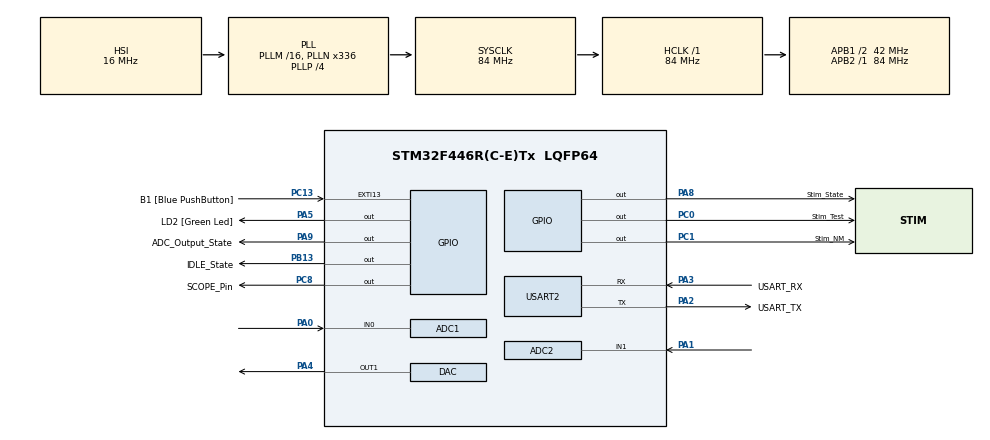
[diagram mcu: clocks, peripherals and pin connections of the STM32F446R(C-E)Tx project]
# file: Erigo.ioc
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ADC1.Channel-0\#ChannelRegularConversion=ADC_CHANNEL_0
ADC1.ExternalTrigConv=ADC_EXTERNALTRIGCONV_T2_TRGO
ADC1.Mode=ADC_DUALMODE_REGSIMULT
ADC1.NbrOfConversionFlag=1
ADC1.Rank-0\#ChannelRegularConversion=1
ADC1.SamplingTime-0\#ChannelRegularConversion=ADC_SAMPLETIME_84CYCLES
ADC1.master=1
ADC2.Channel-3\#ChannelRegularConversion=ADC_CHANNEL_1
ADC2.Mode=ADC_DUALMODE_REGSIMULT
ADC2.NbrOfConversionFlag=1
ADC2.Rank-3\#ChannelRegularConversion=1
ADC2.SamplingTime-3\#ChannelRegularConversion=ADC_SAMPLETIME_84CYCLES
Mcu.Family=STM32F4
Mcu.Name=STM32F446R(C-E)Tx
Mcu.Package=LQFP64
NVIC.ADC_IRQn=true\:0\:0\:false\:false\:true\:true
NVIC.PriorityGroup=NVIC_PRIORITYGROUP_0
NVIC.TIM3_IRQn=true\:0\:0\:false\:false\:true\:true
NVIC.TIM4_IRQn=true\:0\:0\:false\:false\:true\:true
NVIC.USART2_IRQn=true\:0\:0\:false\:false\:true\:true
PA0-WKUP.Signal=ADCx_IN0
PA1.Signal=ADCx_IN1
PA13.GPIO_Label=TMS
PA13.Mode=Serial_Wire
PA13.Signal=SYS_JTMS-SWDIO
PA14.GPIO_Label=TCK
PA14.Mode=Serial_Wire
PA14.Signal=SYS_JTCK-SWCLK
PA2.GPIO_Label=USART_TX
PA2.Mode=Asynchronous
PA2.Signal=USART2_TX
PA3.GPIO_Label=USART_RX
PA3.Mode=Asynchronous
PA3.Signal=USART2_RX
PA4.Signal=SharedAnalog_PA4
PA5.GPIO_Label=LD2 [Green Led]
PA5.PinState=GPIO_PIN_SET
PA5.Signal=GPIO_Output
PA8.GPIO_Label=Stim_State
PA8.Signal=GPIO_Output
PA9.GPIO_Label=ADC_Output_State
PA9.Signal=GPIO_Output
PB13.GPIO_Label=IDLE_State
PB13.Signal=GPIO_Output
PB3.GPIO_Label=SWO
PB3.Signal=SYS_JTDO-SWO
PC0.GPIO_Label=Stim_Test
PC0.Signal=GPIO_Output
PC1.GPIO_Label=Stim_NM
PC1.Signal=GPIO_Output
PC13.GPIO_Label=B1 [Blue PushButton]
PC13.GPIO_ModeDefaultEXTI=GPIO_MODE_IT_FALLING
PC13.GPIO_PuPd=GPIO_NOPULL
PC13.Signal=GPXTI13
PC14-OSC32_IN.Mode=LSE-External-Oscillator
PC14-OSC32_IN.Signal=RCC_OSC32_IN
PC15-OSC32_OUT.Mode=LSE-External-Oscillator
PC15-OSC32_OUT.Signal=RCC_OSC32_OUT
PC8.GPIO_Label=SCOPE_Pin
PC8.GPIO_Speed=GPIO_SPEED_FREQ_MEDIUM
PC8.Signal=GPIO_Output
PH0-OSC_IN.Mode=HSE-External-Oscillator
PH0-OSC_IN.Signal=RCC_OSC_IN
PH1-OSC_OUT.Mode=HSE-External-Oscillator
PH1-OSC_OUT.Signal=RCC_OSC_OUT
ProjectManager.HeapSize=0x200
ProjectManager.StackSize=0x400
ProjectManager.TargetToolchain=SW4STM32
RCC.48MHZClocksFreq_Value=84000000
RCC.AHBFreq_Value=84000000
RCC.APB1CLKDivider=RCC_HCLK_DIV2
RCC.APB1Freq_Value=42000000
RCC.APB1TimFreq_Value=84000000
RCC.APB2Freq_Value=84000000
RCC.APB2TimFreq_Value=84000000
RCC.CortexFreq_Value=84000000
RCC.FLatency-AdvancedSettings=FLASH_LATENCY_2
RCC.HCLKFreq_Value=84000000
RCC.HSE_VALUE=8000000
RCC.HSI_VALUE=16000000
RCC.PLLN=336
RCC.PLLP=RCC_PLLP_DIV4
RCC.SYSCLKFreq_VALUE=84000000
RCC.SYSCLKSource=RCC_SYSCLKSOURCE_PLLCLK
RCC.USBFreq_Value=168000000
RCC.VCOOutputFreq_Value=336000000
SH.ADCx_IN0.0=ADC1_IN0,IN0
SH.ADCx_IN1.0=ADC2_IN1,IN1
SH.SharedAnalog_PA4.0=ADC2_IN4
SH.SharedAnalog_PA4.1=DAC_OUT1,DAC_OUT1
TIM2.Period=832
TIM2.Prescaler=100
TIM2.TIM_MasterOutputTrigger=TIM_TRGO_UPDATE
TIM2.TIM_MasterSlaveMode=TIM_MASTERSLAVEMODE_DISABLE
TIM3.Period=2090
TIM3.Prescaler=200
TIM4.Period=9
TIM4.Prescaler=41999
USART2.VirtualMode=VM_ASYNC
VP_TIM2_VS_ClockSourceINT.Mode=Internal
VP_TIM3_VS_ClockSourceINT.Mode=Internal
VP_TIM4_VS_ClockSourceINT.Mode=Internal
board=NUCLEO-F446RE

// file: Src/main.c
/* USER CODE BEGIN Header */
/**
  ******************************************************************************
  * @file           : main.c
  * @brief          : Main program body
  ******************************************************************************
  ** This notice applies to any and all portions of this file
  * that are not between comment pairs USER CODE BEGIN and
  * USER CODE END. Other portions of this file, whether
  * inserted by the user or by software development tools
  * are owned by their respective copyright owners.
  *
  * COPYRIGHT(c) 2019 STMicroelectronics
  *
  * Redistribution and use in source and binary forms, with or without modification,
  * are permitted provided that the following conditions are met:
  *   1. Redistributions of source code must retain the above copyright notice,
  *      this list of conditions and the following disclaimer.
  *   2. Redistributions in binary form must reproduce the above copyright notice,
  *      this list of conditions and the following disclaimer in the documentation
  *      and/or other materials provided with the distribution.
  *   3. Neither the name of STMicroelectronics nor the names of its contributors
  *      may be used to endorse or promote products derived from this software
  *      without specific prior written permission.
  *
  * THIS SOFTWARE IS PROVIDED BY THE COPYRIGHT HOLDERS AND CONTRIBUTORS "AS IS"
  * AND ANY EXPRESS OR IMPLIED WARRANTIES, INCLUDING, BUT NOT LIMITED TO, THE
  * IMPLIED WARRANTIES OF MERCHANTABILITY AND FITNESS FOR A PARTICULAR PURPOSE ARE
  * DISCLAIMED. IN NO EVENT SHALL THE COPYRIGHT HOLDER OR CONTRIBUTORS BE LIABLE
  * FOR ANY DIRECT, INDIRECT, INCIDENTAL, SPECIAL, EXEMPLARY, OR CONSEQUENTIAL
  * DAMAGES (INCLUDING, BUT NOT LIMITED TO, PROCUREMENT OF SUBSTITUTE GOODS OR
  * SERVICES; LOSS OF USE, DATA, OR PROFITS; OR BUSINESS INTERRUPTION) HOWEVER
  * CAUSED AND ON ANY THEORY OF LIABILITY, WHETHER IN CONTRACT, STRICT LIABILITY,
  * OR TORT (INCLUDING NEGLIGENCE OR OTHERWISE) ARISING IN ANY WAY OUT OF THE USE
  * OF THIS SOFTWARE, EVEN IF ADVISED OF THE POSSIBILITY OF SUCH DAMAGE.
  *
  ******************************************************************************
  */
/* USER CODE END Header */

#include "main.h"

/* USER CODE BEGIN Includes */
#include "stdbool.h"
#include "string.h"

#include "circular_buff.h"
#include "signal_proc_util.h"
#include "comm_protocol.h"
#include "min.h"
#include "min_user.h"
#include "cmd_msg_struct.h"
#include "stim_control.h"
#include "global_state.h"

/* USER CODE END Includes */

/* USER CODE BEGIN PD */
#define STIM_TRIGGER_THRESHOLD 2000
#define STIM_TRIGGER_TOLERANCE 50
#define STIM_TRIGGER_CYCLE_LIMIT 5 //Number of times the threshold must be reached before Test Pulse is produced.

#define MINIMUM_ZERO_CROSSING_TIME_MS 200 //Minimum amount of time before another zero crossing is allowed to be detected

#define ADC_BUFFER_SIZE 5
#define ADC_DATA_AMOUNT 5000 //# of samples to collect

#define TEST_AMP_MA_MIN 0
#define TEST_AMP_MA_MAX 500
#define   NM_AMP_MA_MIN 0
#define   NM_AMP_MA_MAX 300
#define    FREQ_SEL_MIN 0
#define    FREQ_SEL_MAX 3

#define MAX_NM_TIME_MS 60000
#define DIAGNOSTIC_PULSE_TIME 500
/* USER CODE END PD */

ADC_HandleTypeDef hadc1;
ADC_HandleTypeDef hadc2;

DAC_HandleTypeDef hdac;

TIM_HandleTypeDef htim2;
TIM_HandleTypeDef htim3;
TIM_HandleTypeDef htim4;

UART_HandleTypeDef huart2;

void SystemClock_Config(void);
static void MX_GPIO_Init(void);
static void MX_USART2_UART_Init(void);
static void MX_ADC1_Init(void);
static void MX_TIM3_Init(void);
static void MX_DAC_Init(void);
static void MX_TIM2_Init(void);
static void MX_ADC2_Init(void);
static void MX_TIM4_Init(void);

/* USER CODE BEGIN 0 */
bool STIM_MODE = false;

uint32_t num_of_threshold_crossings = 0;

uint32_t gADC_reading = 0;
uint32_t gADC_reading_Two = 0;

//Two buffers are used since it is easier to use separate buffer buffer arrays/circ buffers
//since they are different sizes.
//Buffer for ADC samples while stimulating. This is used as the underlying array for the associated circ buff
uint32_t stim_adc_buffer_array[ADC_BUFFER_SIZE] = {0};

//Buffer for ADC samples while only measuring. This is used as the underlying array for the associated circ buff
uint32_t meas_adc_buffer_array[ADC_DATA_AMOUNT] = {0};

//Buffer to hold recorded stimulation times
uint32_t stim_meas_times[10] = {};
circ_buff_handle stim_meas_time_circ_buff;
uint32_t avg_delta_t = 0;
uint32_t prev_time = 0;
bool first_time = true;
bool send_predictive_test_pulse = false;

//Declare circular buffer for ADC values while stimulating
circ_buff_handle stim_adc_circ_buff;

//Declare circular buffer for ADC values while only measuring
circ_buff_handle meas_adc_circ_buff;

bool POS_BELOW_THRESHOLD = false;

bool has_threshold_been_crossed(){
	//STIM_TRIGGER_THRESHOLD +/- STIM_TRIGGER_TOLERANCE implements hysteresis
	//return (POS_BELOW_THRESHOLD&&all_above_threshold(stim_adc_buffer_array, ADC_BUFFER_SIZE, STIM_TRIGGER_THRESHOLD + STIM_TRIGGER_TOLERANCE)) || (!POS_BELOW_THRESHOLD&&all_below_threshold(stim_adc_buffer_array, ADC_BUFFER_SIZE, STIM_TRIGGER_THRESHOLD - STIM_TRIGGER_TOLERANCE));
	return (POS_BELOW_THRESHOLD&&(circ_buff_get_sum(stim_adc_circ_buff) > circ_buff_max_capacity(stim_adc_circ_buff)*STIM_TRIGGER_THRESHOLD)) ||  //Effectively checks the average of the samples
		  (!POS_BELOW_THRESHOLD&&(circ_buff_get_sum(stim_adc_circ_buff) < circ_buff_max_capacity(stim_adc_circ_buff)*STIM_TRIGGER_THRESHOLD));

}

WAV_CMD_DATA* CMD_DATA_Handle;

//Checks to make sure it is within the range (low, high) inclusive
bool in_range(uint16_t x, uint16_t low, uint16_t high){
    return ((x>=low)&&(x<=high));
}

//Before the STIM_CONTROL state is entered, the values in the cmd msg are checked to make sure they
//are not out of range
bool check_stim_params(WAV_CMD_DATA* CMD_DATA_Handle){

	bool vals_in_bounds = false;
	//Check test_amp_ma
    if(in_range(CMD_DATA_Handle->TestAmp_mA, TEST_AMP_MA_MIN, TEST_AMP_MA_MAX) &&
       in_range(CMD_DATA_Handle->CondAmp_mA, NM_AMP_MA_MIN,NM_AMP_MA_MAX)   &&
	   in_range(CMD_DATA_Handle->CondFreq_Hz, FREQ_SEL_MIN, FREQ_SEL_MAX)){
        return true;
    }

    return vals_in_bounds;
}

/* USER CODE END 0 */

int main(void)
{

  /* MCU Configuration--------------------------------------------------------*/

  /* Reset of all peripherals, Initializes the Flash interface and the Systick. */
  HAL_Init();

  /* Configure the system clock */
  SystemClock_Config();

  /* Initialize all configured peripherals */
  MX_GPIO_Init();
  MX_USART2_UART_Init();
  MX_ADC1_Init();
  MX_TIM3_Init();
  MX_DAC_Init();
  MX_TIM2_Init();
  MX_ADC2_Init();
  MX_TIM4_Init();
  /* USER CODE BEGIN 2 */

  setGlobalState_IDLE_STATE();

  CMD_DATA_Handle = comm_init();  //Init comms and return a msg handler

  //Define the circular buffer used during stim control mode
  stim_adc_circ_buff = circ_buff_init(stim_adc_buffer_array, ADC_BUFFER_SIZE);
  while(!stim_adc_circ_buff){}; //Infinite loop in case it returns NULL

  //Define the circular buffer used during ADC output mode
  meas_adc_circ_buff = circ_buff_init(meas_adc_buffer_array, ADC_DATA_AMOUNT);
  while(!meas_adc_circ_buff){}; //Infinite loop in case it returns NULL

  stim_meas_time_circ_buff = circ_buff_init(stim_meas_times, 10);
  while(!stim_meas_time_circ_buff){};

  /* USER CODE END 2 */

  /* Infinite loop */
  /* USER CODE BEGIN WHILE */
  while (1)
  {

	    comm_get_control_params_blocking();

	    if (CMD_DATA_Handle->cmd_id == WAV_GEN_MSG_IDENTIFIER && check_stim_params(CMD_DATA_Handle)) {

	    	//This state is not entered until bounds checking is done.
	    	//This is so that the stim output will not change,
	    	//since it makes sure it is in the STIM_CONTROL state first.
	    	setGlobalState_STIM_CONTROL();

			//Start stimulation
			stim_control_setup(CMD_DATA_Handle);
			stim_control_start();

			//Start collecting ADC position samples
			HAL_TIM_Base_Start_IT(&htim2);
			HAL_ADC_Start_IT(&hadc1);
			HAL_ADC_Start_IT(&hadc2);

			//Loops while Reset Msg isn't received AND TIMEOUT hasn't expired
			uint32_t expiration_time = HAL_GetTick() + MAX_NM_TIME_MS;
			while(CMD_DATA_Handle->cmd_id != STOP_PROC_ID && ((int32_t)(expiration_time - HAL_GetTick()) > 0)){};

			num_of_threshold_crossings = 0; //Reset this to zero once stimulation has ended
			stim_control_reset();
			circ_buff_reset(stim_adc_circ_buff);

			//Reset to Idle State only once stim control has been reset
		    setGlobalState_IDLE_STATE();

	    }else if (CMD_DATA_Handle->cmd_id == DATA_LOG_MSG_IDENTIFIER){

	    	setGlobalState_ADC_OUTPUT();

	  	    //----Collect ADC Data----//

	        //Turn on HW Timer/ADC to collect samples
	  	    HAL_TIM_Base_Start_IT(&htim2);
	  	    HAL_ADC_Start_IT(&hadc1);
	  	    HAL_ADC_Start_IT(&hadc2);

	  	    while(!circ_buff_is_full(meas_adc_circ_buff));

	  	    HAL_TIM_Base_Stop_IT(&htim2);
	  	    HAL_ADC_Stop_IT(&hadc1);
	  	    HAL_ADC_Stop_IT(&hadc2);

	  	    //----Send Data to Host----//
	  	    comm_send_data(meas_adc_buffer_array, ADC_DATA_AMOUNT);

	  	    circ_buff_reset(meas_adc_circ_buff);

	  	    //Reset to Idle State
	  	    setGlobalState_IDLE_STATE();
	     }

    /* USER CODE END WHILE */

  }
}

void SystemClock_Config(void)
{
  RCC_OscInitTypeDef RCC_OscInitStruct = {0};
  RCC_ClkInitTypeDef RCC_ClkInitStruct = {0};

  /**Configure the main internal regulator output voltage
  */
  __HAL_RCC_PWR_CLK_ENABLE();
  __HAL_PWR_VOLTAGESCALING_CONFIG(PWR_REGULATOR_VOLTAGE_SCALE3);
  /**Initializes the CPU, AHB and APB busses clocks
  */
  RCC_OscInitStruct.OscillatorType = RCC_OSCILLATORTYPE_HSI;
  RCC_OscInitStruct.HSIState = RCC_HSI_ON;
  RCC_OscInitStruct.HSICalibrationValue = RCC_HSICALIBRATION_DEFAULT;
  RCC_OscInitStruct.PLL.PLLState = RCC_PLL_ON;
  RCC_OscInitStruct.PLL.PLLSource = RCC_PLLSOURCE_HSI;
  RCC_OscInitStruct.PLL.PLLM = 16;
  RCC_OscInitStruct.PLL.PLLN = 336;
  RCC_OscInitStruct.PLL.PLLP = RCC_PLLP_DIV4;
  RCC_OscInitStruct.PLL.PLLQ = 2;
  RCC_OscInitStruct.PLL.PLLR = 2;
  if (HAL_RCC_OscConfig(&RCC_OscInitStruct) != HAL_OK)
  {
    Error_Handler();
  }
  /**Initializes the CPU, AHB and APB busses clocks
  */
  RCC_ClkInitStruct.ClockType = RCC_CLOCKTYPE_HCLK|RCC_CLOCKTYPE_SYSCLK
                              |RCC_CLOCKTYPE_PCLK1|RCC_CLOCKTYPE_PCLK2;
  RCC_ClkInitStruct.SYSCLKSource = RCC_SYSCLKSOURCE_PLLCLK;
  RCC_ClkInitStruct.AHBCLKDivider = RCC_SYSCLK_DIV1;
  RCC_ClkInitStruct.APB1CLKDivider = RCC_HCLK_DIV2;
  RCC_ClkInitStruct.APB2CLKDivider = RCC_HCLK_DIV1;

  if (HAL_RCC_ClockConfig(&RCC_ClkInitStruct, FLASH_LATENCY_2) != HAL_OK)
  {
    Error_Handler();
  }
}

static void MX_ADC1_Init(void)
{

  ADC_MultiModeTypeDef multimode = {0};
  ADC_ChannelConfTypeDef sConfig = {0};

  /**Configure the global features of the ADC (Clock, Resolution, Data Alignment and number of conversion)
  */
  hadc1.Instance = ADC1;
  hadc1.Init.ClockPrescaler = ADC_CLOCK_SYNC_PCLK_DIV4;
  hadc1.Init.Resolution = ADC_RESOLUTION_12B;
  hadc1.Init.ScanConvMode = DISABLE;
  hadc1.Init.ContinuousConvMode = DISABLE;
  hadc1.Init.DiscontinuousConvMode = DISABLE;
  hadc1.Init.ExternalTrigConvEdge = ADC_EXTERNALTRIGCONVEDGE_RISING;
  hadc1.Init.ExternalTrigConv = ADC_EXTERNALTRIGCONV_T2_TRGO;
  hadc1.Init.DataAlign = ADC_DATAALIGN_RIGHT;
  hadc1.Init.NbrOfConversion = 1;
  hadc1.Init.DMAContinuousRequests = DISABLE;
  hadc1.Init.EOCSelection = ADC_EOC_SINGLE_CONV;
  if (HAL_ADC_Init(&hadc1) != HAL_OK)
  {
    Error_Handler();
  }
  /**Configure the ADC multi-mode
  */
  multimode.Mode = ADC_DUALMODE_REGSIMULT;
  multimode.DMAAccessMode = ADC_DMAACCESSMODE_DISABLED;
  multimode.TwoSamplingDelay = ADC_TWOSAMPLINGDELAY_5CYCLES;
  if (HAL_ADCEx_MultiModeConfigChannel(&hadc1, &multimode) != HAL_OK)
  {
    Error_Handler();
  }
  /**Configure for the selected ADC regular channel its corresponding rank in the sequencer and its sample time.
  */
  sConfig.Channel = ADC_CHANNEL_0;
  sConfig.Rank = 1;
  sConfig.SamplingTime = ADC_SAMPLETIME_84CYCLES;
  if (HAL_ADC_ConfigChannel(&hadc1, &sConfig) != HAL_OK)
  {
    Error_Handler();
  }

}

static void MX_ADC2_Init(void)
{

  ADC_ChannelConfTypeDef sConfig = {0};

  /**Configure the global features of the ADC (Clock, Resolution, Data Alignment and number of conversion)
  */
  hadc2.Instance = ADC2;
  hadc2.Init.ClockPrescaler = ADC_CLOCK_SYNC_PCLK_DIV4;
  hadc2.Init.Resolution = ADC_RESOLUTION_12B;
  hadc2.Init.ScanConvMode = DISABLE;
  hadc2.Init.ContinuousConvMode = DISABLE;
  hadc2.Init.DiscontinuousConvMode = DISABLE;
  hadc2.Init.DataAlign = ADC_DATAALIGN_RIGHT;
  hadc2.Init.NbrOfConversion = 1;
  hadc2.Init.DMAContinuousRequests = DISABLE;
  hadc2.Init.EOCSelection = ADC_EOC_SINGLE_CONV;
  if (HAL_ADC_Init(&hadc2) != HAL_OK)
  {
    Error_Handler();
  }
  /**Configure for the selected ADC regular channel its corresponding rank in the sequencer and its sample time.
  */
  sConfig.Channel = ADC_CHANNEL_1;
  sConfig.Rank = 1;
  sConfig.SamplingTime = ADC_SAMPLETIME_84CYCLES;
  if (HAL_ADC_ConfigChannel(&hadc2, &sConfig) != HAL_OK)
  {
    Error_Handler();
  }

}

static void MX_DAC_Init(void)
{

  DAC_ChannelConfTypeDef sConfig = {0};

  /**DAC Initialization
  */
  hdac.Instance = DAC;
  if (HAL_DAC_Init(&hdac) != HAL_OK)
  {
    Error_Handler();
  }
  /**DAC channel OUT1 config
  */
  sConfig.DAC_Trigger = DAC_TRIGGER_NONE;
  sConfig.DAC_OutputBuffer = DAC_OUTPUTBUFFER_ENABLE;
  if (HAL_DAC_ConfigChannel(&hdac, &sConfig, DAC_CHANNEL_1) != HAL_OK)
  {
    Error_Handler();
  }

}

static void MX_TIM2_Init(void)
{

  TIM_ClockConfigTypeDef sClockSourceConfig = {0};
  TIM_MasterConfigTypeDef sMasterConfig = {0};

  htim2.Instance = TIM2;
  htim2.Init.Prescaler = 100;
  htim2.Init.CounterMode = TIM_COUNTERMODE_UP;
  htim2.Init.Period = 832;
  htim2.Init.ClockDivision = TIM_CLOCKDIVISION_DIV1;
  if (HAL_TIM_Base_Init(&htim2) != HAL_OK)
  {
    Error_Handler();
  }
  sClockSourceConfig.ClockSource = TIM_CLOCKSOURCE_INTERNAL;
  if (HAL_TIM_ConfigClockSource(&htim2, &sClockSourceConfig) != HAL_OK)
  {
    Error_Handler();
  }
  sMasterConfig.MasterOutputTrigger = TIM_TRGO_UPDATE;
  sMasterConfig.MasterSlaveMode = TIM_MASTERSLAVEMODE_DISABLE;
  if (HAL_TIMEx_MasterConfigSynchronization(&htim2, &sMasterConfig) != HAL_OK)
  {
    Error_Handler();
  }

}

static void MX_TIM3_Init(void)
{

  TIM_ClockConfigTypeDef sClockSourceConfig = {0};
  TIM_MasterConfigTypeDef sMasterConfig = {0};

  htim3.Instance = TIM3;
  htim3.Init.Prescaler = 200;
  htim3.Init.CounterMode = TIM_COUNTERMODE_UP;
  htim3.Init.Period = 2090;
  htim3.Init.ClockDivision = TIM_CLOCKDIVISION_DIV1;
  if (HAL_TIM_Base_Init(&htim3) != HAL_OK)
  {
    Error_Handler();
  }
  sClockSourceConfig.ClockSource = TIM_CLOCKSOURCE_INTERNAL;
  if (HAL_TIM_ConfigClockSource(&htim3, &sClockSourceConfig) != HAL_OK)
  {
    Error_Handler();
  }
  sMasterConfig.MasterOutputTrigger = TIM_TRGO_RESET;
  sMasterConfig.MasterSlaveMode = TIM_MASTERSLAVEMODE_DISABLE;
  if (HAL_TIMEx_MasterConfigSynchronization(&htim3, &sMasterConfig) != HAL_OK)
  {
    Error_Handler();
  }

}

static void MX_TIM4_Init(void)
{

  TIM_ClockConfigTypeDef sClockSourceConfig = {0};
  TIM_MasterConfigTypeDef sMasterConfig = {0};

  htim4.Instance = TIM4;
  htim4.Init.Prescaler = 41999;
  htim4.Init.CounterMode = TIM_COUNTERMODE_UP;
  htim4.Init.Period = 9;
  htim4.Init.ClockDivision = TIM_CLOCKDIVISION_DIV1;
  if (HAL_TIM_Base_Init(&htim4) != HAL_OK)
  {
    Error_Handler();
  }
  sClockSourceConfig.ClockSource = TIM_CLOCKSOURCE_INTERNAL;
  if (HAL_TIM_ConfigClockSource(&htim4, &sClockSourceConfig) != HAL_OK)
  {
    Error_Handler();
  }
  sMasterConfig.MasterOutputTrigger = TIM_TRGO_RESET;
  sMasterConfig.MasterSlaveMode = TIM_MASTERSLAVEMODE_DISABLE;
  if (HAL_TIMEx_MasterConfigSynchronization(&htim4, &sMasterConfig) != HAL_OK)
  {
    Error_Handler();
  }

}

static void MX_USART2_UART_Init(void)
{

  huart2.Instance = USART2;
  huart2.Init.BaudRate = 115200;
  huart2.Init.WordLength = UART_WORDLENGTH_8B;
  huart2.Init.StopBits = UART_STOPBITS_1;
  huart2.Init.Parity = UART_PARITY_NONE;
  huart2.Init.Mode = UART_MODE_TX_RX;
  huart2.Init.HwFlowCtl = UART_HWCONTROL_NONE;
  huart2.Init.OverSampling = UART_OVERSAMPLING_16;
  if (HAL_UART_Init(&huart2) != HAL_OK)
  {
    Error_Handler();
  }

}

static void MX_GPIO_Init(void)
{
  GPIO_InitTypeDef GPIO_InitStruct = {0};

  /* GPIO Ports Clock Enable */
  __HAL_RCC_GPIOC_CLK_ENABLE();
  __HAL_RCC_GPIOH_CLK_ENABLE();
  __HAL_RCC_GPIOA_CLK_ENABLE();
  __HAL_RCC_GPIOB_CLK_ENABLE();

  /*Configure GPIO pin Output Level */
  HAL_GPIO_WritePin(GPIOC, Stim_Test_Pin|Stim_NM_Pin|SCOPE_Pin_Pin, GPIO_PIN_RESET);

  /*Configure GPIO pin Output Level */
  HAL_GPIO_WritePin(LD2_GPIO_Port, LD2_Pin, GPIO_PIN_SET);

  /*Configure GPIO pin Output Level */
  HAL_GPIO_WritePin(IDLE_State_GPIO_Port, IDLE_State_Pin, GPIO_PIN_RESET);

  /*Configure GPIO pin Output Level */
  HAL_GPIO_WritePin(GPIOA, Stim_State_Pin|ADC_Output_State_Pin, GPIO_PIN_RESET);

  /*Configure GPIO pin : B1_Pin */
  GPIO_InitStruct.Pin = B1_Pin;
  GPIO_InitStruct.Mode = GPIO_MODE_IT_FALLING;
  GPIO_InitStruct.Pull = GPIO_NOPULL;
  HAL_GPIO_Init(B1_GPIO_Port, &GPIO_InitStruct);

  /*Configure GPIO pins : Stim_Test_Pin Stim_NM_Pin */
  GPIO_InitStruct.Pin = Stim_Test_Pin|Stim_NM_Pin;
  GPIO_InitStruct.Mode = GPIO_MODE_OUTPUT_PP;
  GPIO_InitStruct.Pull = GPIO_NOPULL;
  GPIO_InitStruct.Speed = GPIO_SPEED_FREQ_LOW;
  HAL_GPIO_Init(GPIOC, &GPIO_InitStruct);

  /*Configure GPIO pins : LD2_Pin Stim_State_Pin ADC_Output_State_Pin */
  GPIO_InitStruct.Pin = LD2_Pin|Stim_State_Pin|ADC_Output_State_Pin;
  GPIO_InitStruct.Mode = GPIO_MODE_OUTPUT_PP;
  GPIO_InitStruct.Pull = GPIO_NOPULL;
  GPIO_InitStruct.Speed = GPIO_SPEED_FREQ_LOW;
  HAL_GPIO_Init(GPIOA, &GPIO_InitStruct);

  /*Configure GPIO pin : IDLE_State_Pin */
  GPIO_InitStruct.Pin = IDLE_State_Pin;
  GPIO_InitStruct.Mode = GPIO_MODE_OUTPUT_PP;
  GPIO_InitStruct.Pull = GPIO_NOPULL;
  GPIO_InitStruct.Speed = GPIO_SPEED_FREQ_LOW;
  HAL_GPIO_Init(IDLE_State_GPIO_Port, &GPIO_InitStruct);

  /*Configure GPIO pin : SCOPE_Pin_Pin */
  GPIO_InitStruct.Pin = SCOPE_Pin_Pin;
  GPIO_InitStruct.Mode = GPIO_MODE_OUTPUT_PP;
  GPIO_InitStruct.Pull = GPIO_NOPULL;
  GPIO_InitStruct.Speed = GPIO_SPEED_FREQ_MEDIUM;
  HAL_GPIO_Init(SCOPE_Pin_GPIO_Port, &GPIO_InitStruct);

}

/* USER CODE BEGIN 4 */

void HAL_ADC_ConvCpltCallback(ADC_HandleTypeDef* hadc)
{
	//HAL_GPIO_TogglePin(SCOPE_Pin_GPIO_Port, SCOPE_Pin_Pin);
	gADC_reading = HAL_ADC_GetValue(&hadc1);
	gADC_reading_Two = HAL_ADC_GetValue(&hadc2);
	//HAL_GPIO_TogglePin(LD2_GPIO_Port, LD2_Pin);

	if(getGlobalState() == ADC_OUTPUT){
        uint32_t adc_logged = gADC_reading | (gADC_reading_Two << 16);
		circ_buff_put(meas_adc_circ_buff, adc_logged);
	}
	else if(getGlobalState() == STIM_CONTROL){
	    circ_buff_put(stim_adc_circ_buff , gADC_reading);

	    //These series of if's should be inside a "should_diagnostic_pulse_be_produced()" function.
	    uint32_t zero_crossing_hyst_time = prev_time + MINIMUM_ZERO_CROSSING_TIME_MS;
	    if(has_threshold_been_crossed() && !((int32_t)(zero_crossing_hyst_time - HAL_GetTick()) > 0))
	    {
	    	HAL_GPIO_TogglePin(SCOPE_Pin_GPIO_Port, SCOPE_Pin_Pin);
	    	if(first_time){
	    	    prev_time = HAL_GetTick();
	    	    first_time = false;
	    	}
	    	else{
                circ_buff_put(stim_meas_time_circ_buff, HAL_GetTick() - prev_time);
                prev_time = HAL_GetTick();
                avg_delta_t = circ_buff_get_avg(stim_meas_time_circ_buff);
	    	}

	    	if(((num_of_threshold_crossings+1)%STIM_TRIGGER_CYCLE_LIMIT==0))
		    {

			//if diagnostic pulse timer has not expired we don't send another pulse for safety
			uint32_t expiration_time = get_time_of_last_diagnostic_pulse() + DIAGNOSTIC_PULSE_TIME;
			if(!((int32_t)(expiration_time - HAL_GetTick()) > 0)){
				__HAL_TIM_SET_AUTORELOAD(&htim4, (uint16_t)(2*avg_delta_t)); //Times 2 since the tick of the timer is 1/2 millisecond
				HAL_TIM_Base_Start_IT(&htim4);
			}

		    }
		    num_of_threshold_crossings++;
		    POS_BELOW_THRESHOLD = !POS_BELOW_THRESHOLD;
	    }
	}
}

/* USER CODE END 4 */

void Error_Handler(void)
{
}

/************************ (C) COPYRIGHT STMicroelectronics *****END OF FILE****/
